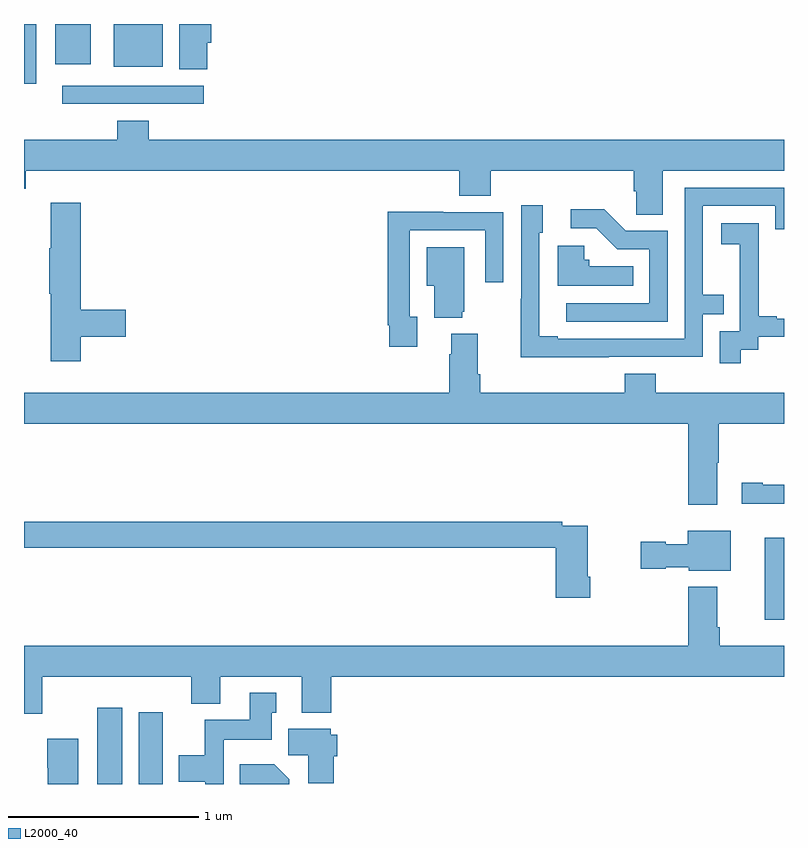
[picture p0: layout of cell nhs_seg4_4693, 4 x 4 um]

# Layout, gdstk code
import gdstk
lib = gdstk.Library(unit=1e-6, precision=1e-09)
def R(c, l, rs):  # rectangles x0, y0, x1, y1
    for r in rs: c.add(gdstk.rectangle(r[:2], r[2:], *l))
def P(c, l, *ps):  # polygons
    for p in ps: c.add(gdstk.Polygon(p, *l))
L2000_40 = (2000, 40)

nhs_seg4_4693 = lib.new_cell('nhs_seg4_4693')
R(nhs_seg4_4693, L2000_40, [(363.386,818.9,363.517,819.301), (363.605,818.9,363.73,819.277), (366.899,819.765,367,820.195), (363.201,822.48,363.946,822.576), (363,822.585,363.064,822.9), (363.473,822.674,363.73,822.9), (363.164,822.689,363.352,822.9)])
P(nhs_seg4_4693, L2000_40, [(363.965,822.801),(363.986,822.801),(363.986,822.9),(363.818,822.9),(363.818,822.661),(363.965,822.661)],
  [(366.361,822.128),(367,822.128),(367,822.292),(363.656,822.292),(363.656,822.391),(363.491,822.391),(363.491,822.292),(363,822.292),(363,822.032),(363.008,822.032),(363.008,822.128),(365.291,822.128),(365.291,821.995),(365.456,821.995),(365.456,822.128),(366.209,822.128),(366.209,822.019),(366.222,822.019),(366.222,821.896),(366.361,821.896)],
  [(366.077,821.148),(366.573,821.148),(366.573,821.373),(366.683,821.373),(366.683,821.474),(366.573,821.474),(366.573,821.943),(366.954,821.943),(366.954,821.82),(367,821.82),(367,822.039),(366.477,822.039),(366.477,821.244),(365.809,821.244),(365.809,821.257),(365.712,821.257),(365.712,821.802),(365.731,821.802),(365.731,821.947),(365.616,821.947),(365.616,821.453),(365.614,821.453),(365.614,821.147),(366.077,821.147)],
  [(363.299,821.254),(363.535,821.254),(363.535,821.396),(363.299,821.396),(363.299,821.959),(363.14,821.959),(363.14,821.72),(363.133,821.72),(363.133,821.479),(363.14,821.479),(363.14,821.124),(363.299,821.124)],
  [(366.387,821.811),(366.168,821.811),(366.055,821.924),(365.877,821.924),(365.877,821.826),(366.011,821.826),(366.122,821.715),(366.291,821.715),(366.291,821.43),(365.853,821.43),(365.853,821.334),(366.387,821.334)],
  [(365.071,821.358),(365.031,821.358),(365.031,821.814),(365.427,821.814),(365.427,821.541),(365.523,821.541),(365.523,821.91),(365.207,821.91),(365.207,821.912),(364.915,821.912),(364.915,821.314),(364.923,821.314),(364.923,821.202),(365.071,821.202)],
  [(366.772,821.185),(366.864,821.185),(366.864,821.253),(367,821.253),(367,821.349),(366.961,821.349),(366.961,821.362),(366.866,821.362),(366.866,821.645),(366.867,821.645),(366.867,821.851),(366.669,821.851),(366.669,821.741),(366.767,821.741),(366.767,821.513),(366.768,821.513),(366.768,821.283),(366.663,821.283),(366.663,821.115),(366.772,821.115)],
  [(366.206,821.626),(365.976,821.626),(365.976,821.658),(365.949,821.658),(365.949,821.734),(365.81,821.734),(365.81,821.522),(366.206,821.522)],
  [(365.306,821.385),(365.317,821.385),(365.317,821.725),(365.12,821.725),(365.12,821.522),(365.159,821.522),(365.159,821.354),(365.306,821.354)],
  [(366.649,820.592),(366.657,820.592),(366.657,820.796),(367,820.796),(367,820.96),(366.326,820.96),(366.326,821.059),(366.161,821.059),(366.161,820.96),(365.402,820.96),(365.402,821.056),(365.389,821.056),(365.389,821.269),(365.249,821.269),(365.249,821.162),(365.237,821.162),(365.237,820.96),(363,820.96),(363,820.796),(366.497,820.796),(366.497,820.371),(366.649,820.371)],
  [(367,820.476),(366.889,820.476),(366.889,820.486),(366.777,820.486),(366.777,820.376),(367,820.376)],
  [(365.981,819.991),(365.968,819.991),(365.968,820.26),(365.834,820.26),(365.834,820.28),(363,820.28),(363,820.144),(365.798,820.144),(365.798,819.879),(365.981,819.879)],
  [(366.721,820.234),(366.494,820.234),(366.494,820.162),(366.378,820.162),(366.378,820.175),(366.246,820.175),(366.246,820.033),(366.378,820.033),(366.378,820.04),(366.498,820.04),(366.498,820.022),(366.721,820.022)],
  [(363.097,819.464),(363.881,819.464),(363.881,819.323),(364.033,819.323),(364.033,819.464),(364.463,819.464),(364.463,819.275),(364.616,819.275),(364.616,819.464),(367,819.464),(367,819.628),(366.662,819.628),(366.662,819.724),(366.649,819.724),(366.649,819.937),(366.497,819.937),(366.497,819.628),(363,819.628),(363,819.27),(363.097,819.27)],
  [(364.05,819.134),(364.303,819.134),(364.303,819.276),(364.327,819.276),(364.327,819.379),(364.187,819.379),(364.187,819.238),(363.952,819.238),(363.952,819.052),(363.815,819.052),(363.815,818.912),(363.954,818.912),(363.954,818.9),(364.05,818.9)],
  [(364.631,819.045),(364.649,819.045),(364.649,819.159),(364.614,819.159),(364.614,819.19),(364.391,819.19),(364.391,819.052),(364.496,819.052),(364.496,818.904),(364.631,818.904)],
  [(363.286,819.139),(363.122,819.139),(363.122,818.985),(363.124,818.985),(363.124,818.9),(363.286,818.9)],
  [(364.396,818.926),(364.318,819.004),(364.135,819.004),(364.135,818.9),(364.396,818.9)])

lib.write_gds('nhs_seg4_4693.gds')
